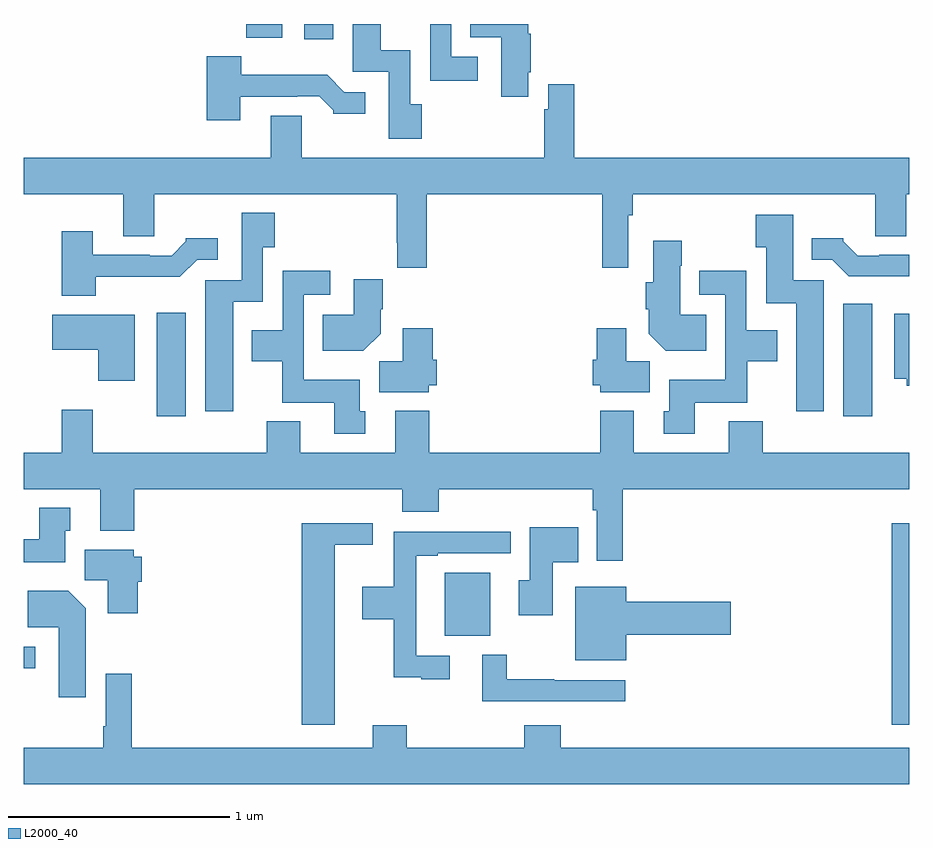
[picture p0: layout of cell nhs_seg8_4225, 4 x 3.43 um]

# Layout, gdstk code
import gdstk
lib = gdstk.Library(unit=1e-6, precision=1e-09)
def R(c, l, rs):  # rectangles x0, y0, x1, y1
    for r in rs: c.add(gdstk.rectangle(r[:2], r[2:], *l))
def P(c, l, *ps):  # polygons
    for p in ps: c.add(gdstk.Polygon(p, *l))
L2000_40 = (2000, 40)

nhs_seg8_4225 = lib.new_cell('nhs_seg8_4225')
R(nhs_seg8_4225, L2000_40, [(372.92,1148.736,373,1149.646), (369,1148.991,369.052,1149.087), (370.901,1149.137,371.107,1149.421), (369.602,1150.128,369.733,1150.597), (372.701,1150.128,372.832,1150.636), (370.268,1151.832,370.399,1151.9), (370.006,1151.837,370.168,1151.9)])
P(nhs_seg8_4225, L2000_40, [(370.799,1151.538),(370.746,1151.538),(370.746,1151.782),(370.612,1151.782),(370.612,1151.9),(370.487,1151.9),(370.487,1151.685),(370.65,1151.685),(370.65,1151.382),(370.799,1151.382)],
  [(371.278,1151.683),(371.291,1151.683),(371.291,1151.855),(371.278,1151.855),(371.278,1151.9),(371.017,1151.9),(371.017,1151.84),(371.156,1151.84),(371.156,1151.571),(371.278,1151.571)],
  [(371.05,1151.751),(370.932,1151.751),(370.932,1151.9),(370.836,1151.9),(370.836,1151.643),(371.05,1151.643)],
  [(369.979,1151.571),(370.235,1151.571),(370.235,1151.574),(370.334,1151.574),(370.398,1151.51),(370.398,1151.495),(370.543,1151.495),(370.543,1151.592),(370.449,1151.592),(370.371,1151.671),(369.982,1151.671),(369.982,1151.755),(369.827,1151.755),(369.827,1151.466),(369.979,1151.466)],
  [(371.37,1151.629),(371.37,1151.516),(371.35,1151.516),(371.35,1151.296),(370.255,1151.296),(370.255,1151.486),(370.115,1151.486),(370.115,1151.296),(369,1151.296),(369,1151.132),(369.449,1151.132),(369.449,1150.942),(369.589,1150.942),(369.589,1151.132),(370.684,1151.132),(370.684,1150.912),(370.688,1150.912),(370.688,1150.8),(370.82,1150.8),(370.82,1151.132),(371.614,1151.132),(371.614,1150.8),(371.73,1150.8),(371.73,1151.036),(371.75,1151.036),(371.75,1151.132),(372.845,1151.132),(372.845,1150.942),(372.985,1150.942),(372.985,1151.132),(373,1151.132),(373,1151.296),(371.486,1151.296),(371.486,1151.629)],
  [(369.946,1150.646),(370.08,1150.646),(370.08,1150.891),(370.133,1150.891),(370.133,1151.047),(369.984,1151.047),(369.984,1150.743),(369.821,1150.743),(369.821,1150.152),(369.946,1150.152)],
  [(372.613,1150.743),(372.475,1150.743),(372.475,1151.038),(372.307,1151.038),(372.307,1150.891),(372.353,1150.891),(372.353,1150.64),(372.488,1150.64),(372.488,1150.152),(372.613,1150.152)],
  [(369.326,1150.758),(369.705,1150.758),(369.783,1150.836),(369.877,1150.836),(369.877,1150.933),(369.732,1150.933),(369.732,1150.918),(369.668,1150.854),(369.569,1150.854),(369.569,1150.857),(369.313,1150.857),(369.313,1150.963),(369.173,1150.963),(369.173,1150.673),(369.326,1150.673)],
  [(373,1150.857),(372.865,1150.857),(372.865,1150.854),(372.766,1150.854),(372.702,1150.918),(372.702,1150.933),(372.56,1150.933),(372.56,1150.836),(372.651,1150.836),(372.727,1150.76),(373,1150.76)],
  [(372.083,1150.588),(371.965,1150.588),(371.965,1150.808),(371.973,1150.808),(371.973,1150.921),(371.843,1150.921),(371.843,1150.734),(371.81,1150.734),(371.81,1150.612),(371.822,1150.612),(371.822,1150.502),(371.9,1150.424),(372.083,1150.424)],
  [(370.543,1150.152),(370.519,1150.152),(370.519,1150.294),(370.266,1150.294),(370.266,1150.677),(370.384,1150.677),(370.384,1150.786),(370.17,1150.786),(370.17,1150.516),(370.031,1150.516),(370.031,1150.376),(370.168,1150.376),(370.168,1150.19),(370.403,1150.19),(370.403,1150.05),(370.543,1150.05)],
  [(372.031,1150.19),(372.267,1150.19),(372.267,1150.376),(372.403,1150.376),(372.403,1150.516),(372.264,1150.516),(372.264,1150.786),(372.051,1150.786),(372.051,1150.677),(372.168,1150.677),(372.168,1150.294),(371.915,1150.294),(371.915,1150.152),(371.891,1150.152),(371.891,1150.05),(372.031,1150.05)],
  [(370.612,1150.502),(370.612,1150.612),(370.622,1150.612),(370.622,1150.747),(370.49,1150.747),(370.49,1150.588),(370.351,1150.588),(370.351,1150.424),(370.534,1150.424)],
  [(373,1150.591),(372.932,1150.591),(372.932,1150.298),(372.987,1150.298),(372.987,1150.266),(373,1150.266)],
  [(369.502,1150.588),(369.129,1150.588),(369.129,1150.43),(369.338,1150.43),(369.338,1150.29),(369.502,1150.29)],
  [(370.83,1150.269),(370.865,1150.269),(370.865,1150.383),(370.847,1150.383),(370.847,1150.525),(370.712,1150.525),(370.712,1150.376),(370.607,1150.376),(370.607,1150.238),(370.83,1150.238)],
  [(371.827,1150.376),(371.722,1150.376),(371.722,1150.525),(371.588,1150.525),(371.588,1150.383),(371.57,1150.383),(371.57,1150.269),(371.604,1150.269),(371.604,1150.238),(371.827,1150.238)],
  [(371.705,1149.8),(373,1149.8),(373,1149.964),(372.338,1149.964),(372.338,1150.105),(372.185,1150.105),(372.185,1149.964),(371.755,1149.964),(371.755,1150.153),(371.603,1150.153),(371.603,1149.964),(370.832,1149.964),(370.832,1150.153),(370.679,1150.153),(370.679,1149.964),(370.249,1149.964),(370.249,1150.105),(370.097,1150.105),(370.097,1149.964),(369.313,1149.964),(369.313,1150.159),(369.173,1150.159),(369.173,1149.964),(369,1149.964),(369,1149.8),(369.347,1149.8),(369.347,1149.611),(369.5,1149.611),(369.5,1149.8),(370.709,1149.8),(370.709,1149.698),(370.874,1149.698),(370.874,1149.8),(371.569,1149.8),(371.569,1149.704),(371.589,1149.704),(371.589,1149.477),(371.705,1149.477)],
  [(369.187,1149.612),(369.211,1149.612),(369.211,1149.715),(369.071,1149.715),(369.071,1149.574),(369,1149.574),(369,1149.47),(369.187,1149.47)],
  [(370.405,1149.548),(370.576,1149.548),(370.576,1149.646),(370.256,1149.646),(370.256,1148.736),(370.405,1148.736)],
  [(371.389,1149.47),(371.504,1149.47),(371.504,1149.628),(371.285,1149.628),(371.285,1149.387),(371.235,1149.387),(371.235,1149.231),(371.389,1149.231)],
  [(370.924,1149.048),(370.773,1149.048),(370.773,1149.498),(370.87,1149.498),(370.87,1149.51),(371.2,1149.51),(371.2,1149.608),(370.957,1149.608),(370.957,1149.606),(370.672,1149.606),(370.672,1149.358),(370.53,1149.358),(370.53,1149.211),(370.672,1149.211),(370.672,1148.951),(370.796,1148.951),(370.796,1148.94),(370.924,1148.94)],
  [(369.515,1149.381),(369.533,1149.381),(369.533,1149.495),(369.498,1149.495),(369.498,1149.526),(369.275,1149.526),(369.275,1149.388),(369.38,1149.388),(369.38,1149.24),(369.515,1149.24)],
  [(371.722,1149.143),(372.193,1149.143),(372.193,1149.29),(371.722,1149.29),(371.722,1149.358),(371.492,1149.358),(371.492,1149.026),(371.722,1149.026)],
  [(369.28,1149.262),(369.202,1149.34),(369.019,1149.34),(369.019,1149.176),(369.158,1149.176),(369.158,1148.859),(369.28,1148.859)],
  [(371.716,1148.937),(371.396,1148.937),(371.396,1148.942),(371.182,1148.942),(371.182,1149.052),(371.072,1149.052),(371.072,1148.841),(371.716,1148.841)],
  [(373,1148.632),(371.426,1148.632),(371.426,1148.734),(371.261,1148.734),(371.261,1148.632),(370.73,1148.632),(370.73,1148.734),(370.577,1148.734),(370.577,1148.632),(369.488,1148.632),(369.488,1148.965),(369.372,1148.965),(369.372,1148.728),(369.36,1148.728),(369.36,1148.632),(369,1148.632),(369,1148.468),(373,1148.468)])

lib.write_gds('nhs_seg8_4225.gds')
